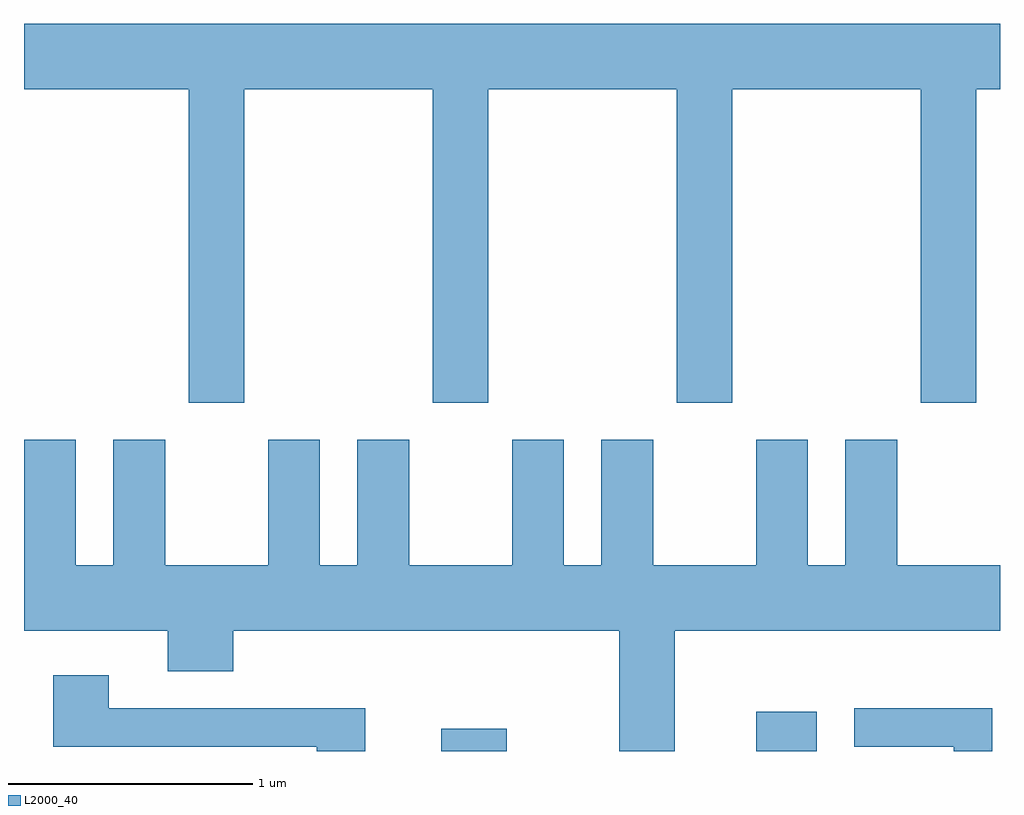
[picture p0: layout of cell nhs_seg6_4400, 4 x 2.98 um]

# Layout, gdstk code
import gdstk
lib = gdstk.Library(unit=1e-6, precision=1e-09)
def R(c, l, rs):  # rectangles x0, y0, x1, y1
    for r in rs: c.add(gdstk.rectangle(r[:2], r[2:], *l))
def P(c, l, *ps):  # polygons
    for p in ps: c.add(gdstk.Polygon(p, *l))
L2000_40 = (2000, 40)

nhs_seg6_4400 = lib.new_cell('nhs_seg6_4400')
R(nhs_seg6_4400, L2000_40, [(321.321,1596.162,321.589,1596.254), (322.611,1596.162,322.859,1596.324)])
P(nhs_seg6_4400, L2000_40, [(320.514,1598.876),(321.286,1598.876),(321.286,1597.591),(321.514,1597.591),(321.514,1598.876),(322.286,1598.876),(322.286,1597.591),(322.514,1597.591),(322.514,1598.876),(323.286,1598.876),(323.286,1597.591),(323.514,1597.591),(323.514,1598.876),(323.611,1598.876),(323.611,1599.144),(319.611,1599.144),(319.611,1598.876),(320.286,1598.876),(320.286,1597.591),(320.514,1597.591)],
  [(322.279,1596.656),(323.611,1596.656),(323.611,1596.924),(323.189,1596.924),(323.189,1597.439),(322.976,1597.439),(322.976,1596.924),(322.824,1596.924),(322.824,1597.439),(322.611,1597.439),(322.611,1596.924),(322.189,1596.924),(322.189,1597.439),(321.976,1597.439),(321.976,1596.924),(321.824,1596.924),(321.824,1597.439),(321.611,1597.439),(321.611,1596.924),(321.189,1596.924),(321.189,1597.439),(320.976,1597.439),(320.976,1596.924),(320.824,1596.924),(320.824,1597.439),(320.611,1597.439),(320.611,1596.924),(320.189,1596.924),(320.189,1597.439),(319.976,1597.439),(319.976,1596.924),(319.824,1596.924),(319.824,1597.439),(319.611,1597.439),(319.611,1596.656),(320.201,1596.656),(320.201,1596.491),(320.469,1596.491),(320.469,1596.656),(322.051,1596.656),(322.051,1596.162),(322.279,1596.162)],
  [(321.009,1596.339),(319.959,1596.339),(319.959,1596.474),(319.731,1596.474),(319.731,1596.181),(320.811,1596.181),(320.811,1596.162),(321.009,1596.162)],
  [(323.579,1596.339),(323.013,1596.339),(323.013,1596.181),(323.421,1596.181),(323.421,1596.162),(323.579,1596.162)])

lib.write_gds('nhs_seg6_4400.gds')
